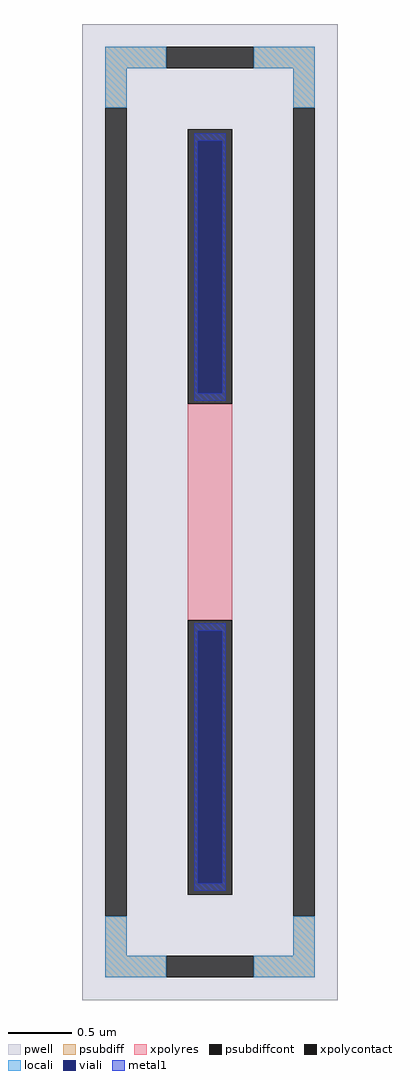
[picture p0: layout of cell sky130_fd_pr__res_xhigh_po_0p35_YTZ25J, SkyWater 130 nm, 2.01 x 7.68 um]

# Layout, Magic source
magic
tech sky130A
magscale 1 2
<< pwell >>
rect -201 -768 201 768
<< psubdiff >>
rect -165 698 -69 732
rect 69 698 165 732
rect -165 636 -131 698
rect 131 636 165 698
rect -165 -698 -131 -636
rect 131 -698 165 -636
rect -165 -732 -69 -698
rect 69 -732 165 -698
<< psubdiffcont >>
rect -69 698 69 732
rect -165 -636 -131 636
rect 131 -636 165 636
rect -69 -732 69 -698
<< xpolycontact >>
rect -35 170 35 602
rect -35 -602 35 -170
<< xpolyres >>
rect -35 -170 35 170
<< locali >>
rect -165 698 -69 732
rect 69 698 165 732
rect -165 636 -131 698
rect 131 636 165 698
rect -165 -698 -131 -636
rect 131 -698 165 -636
rect -165 -732 -69 -698
rect 69 -732 165 -698
<< viali >>
rect -19 187 19 584
rect -19 -584 19 -187
<< metal1 >>
rect -25 584 25 596
rect -25 187 -19 584
rect 19 187 25 584
rect -25 175 25 187
rect -25 -187 25 -175
rect -25 -584 -19 -187
rect 19 -584 25 -187
rect -25 -596 25 -584
<< properties >>
string FIXED_BBOX -148 -715 148 715
string gencell sky130_fd_pr__res_xhigh_po_0p35
string library sky130
string parameters w 0.350 l 1.86 m 1 nx 1 wmin 0.350 lmin 0.50 rho 2000 val 11.704k dummy 0 dw 0.0 term 188.2 sterm 0.0 caplen 0 wmax 0.350 guard 1 glc 1 grc 1 gtc 1 gbc 1 compatible {sky130_fd_pr__res_xhigh_po_0p35  sky130_fd_pr__res_xhigh_po_0p69 sky130_fd_pr__res_xhigh_po_1p41  sky130_fd_pr__res_xhigh_po_2p85 sky130_fd_pr__res_xhigh_po_5p73} snake 0 full_metal 1 n_guard 0 hv_guard 0 vias 1 viagb 0 viagt 0 viagl 0 viagr 0
<< end >>
